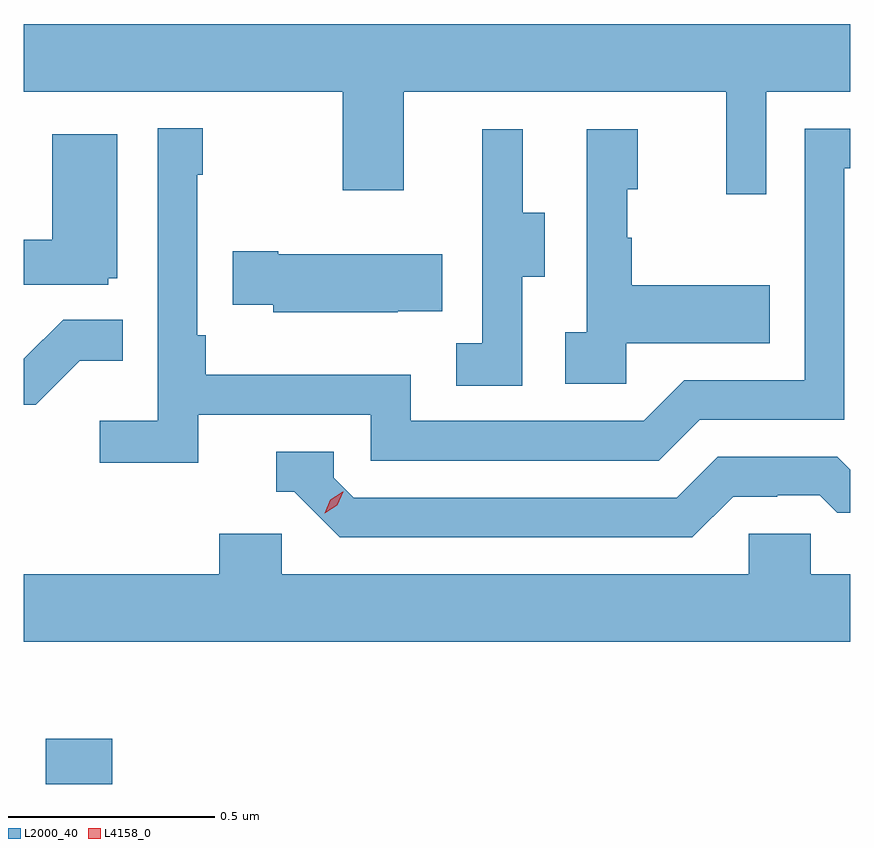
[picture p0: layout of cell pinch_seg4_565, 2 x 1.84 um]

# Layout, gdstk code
import gdstk
lib = gdstk.Library(unit=1e-6, precision=1e-09)
def R(c, l, rs):  # rectangles x0, y0, x1, y1
    for r in rs: c.add(gdstk.rectangle(r[:2], r[2:], *l))
def P(c, l, *ps):  # polygons
    for p in ps: c.add(gdstk.Polygon(p, *l))
L2000_40 = (2000, 40)
L4158_0 = (4158, 0)

pinch_seg4_565 = lib.new_cell('pinch_seg4_565')
R(pinch_seg4_565, L2000_40, [(1080.857,785.82,1081.018,785.929)])
P(pinch_seg4_565, L2000_40, [(1082.601,787.496),(1082.804,787.496),(1082.804,787.66),(1080.804,787.66),(1080.804,787.496),(1081.576,787.496),(1081.576,787.257),(1081.723,787.257),(1081.723,787.496),(1082.504,787.496),(1082.504,787.248),(1082.601,787.248)],
  [(1081.226,786.714),(1081.644,786.714),(1081.644,786.603),(1082.341,786.603),(1082.44,786.702),(1082.79,786.702),(1082.79,787.311),(1082.804,787.311),(1082.804,787.407),(1082.694,787.407),(1082.694,786.798),(1082.403,786.798),(1082.304,786.699),(1081.74,786.699),(1081.74,786.811),(1081.244,786.811),(1081.244,786.907),(1081.224,786.907),(1081.224,787.295),(1081.237,787.295),(1081.237,787.408),(1081.128,787.408),(1081.128,786.7),(1080.987,786.7),(1080.987,786.598),(1081.226,786.598)],
  [(1082.262,786.887),(1082.609,786.887),(1082.609,787.027),(1082.275,787.027),(1082.275,787.142),(1082.265,787.142),(1082.265,787.26),(1082.29,787.26),(1082.29,787.405),(1082.166,787.405),(1082.166,786.914),(1082.115,786.914),(1082.115,786.789),(1082.262,786.789)],
  [(1082.01,787.048),(1082.065,787.048),(1082.065,787.203),(1082.011,787.203),(1082.011,787.405),(1081.913,787.405),(1081.913,787.191),(1081.914,787.191),(1081.914,786.887),(1081.851,786.887),(1081.851,786.784),(1082.01,786.784)],
  [(1081.008,787.044),(1081.03,787.044),(1081.03,787.393),(1080.872,787.393),(1080.872,787.138),(1080.804,787.138),(1080.804,787.029),(1081.008,787.029)],
  [(1081.709,786.965),(1081.817,786.965),(1081.817,787.102),(1081.42,787.102),(1081.42,787.11),(1081.309,787.11),(1081.309,786.98),(1081.407,786.98),(1081.407,786.962),(1081.709,786.962)],
  [(1080.939,786.845),(1081.043,786.845),(1081.043,786.944),(1080.899,786.944),(1080.804,786.849),(1080.804,786.738),(1080.832,786.738)],
  [(1082.521,786.516),(1082.628,786.516),(1082.628,786.519),(1082.731,786.519),(1082.773,786.477),(1082.804,786.477),(1082.804,786.581),(1082.773,786.612),(1082.484,786.612),(1082.385,786.513),(1081.602,786.513),(1081.554,786.561),(1081.554,786.624),(1081.415,786.624),(1081.415,786.528),(1081.458,786.528),(1081.569,786.417),(1082.422,786.417)],
  [(1082.804,786.328),(1082.709,786.328),(1082.709,786.426),(1082.559,786.426),(1082.559,786.328),(1081.428,786.328),(1081.428,786.426),(1081.277,786.426),(1081.277,786.328),(1080.804,786.328),(1080.804,786.164),(1082.804,786.164)])
P(pinch_seg4_565, L4158_0, [(1081.532,786.475),(1081.532,786.475),(1081.546,786.508),(1081.576,786.528),(1081.577,786.528),(1081.577,786.528),(1081.562,786.495),(1081.532,786.475)])

lib.write_gds('pinch_seg4_565.gds')
